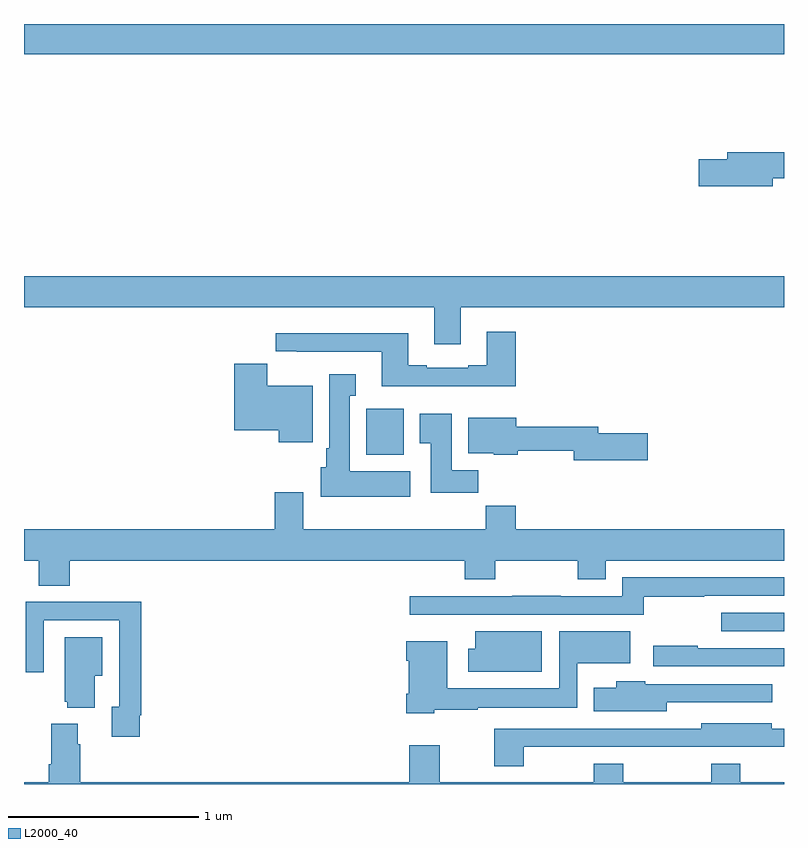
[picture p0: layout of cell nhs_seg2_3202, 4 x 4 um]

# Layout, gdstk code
import gdstk
lib = gdstk.Library(unit=1e-6, precision=1e-09)
def R(c, l, rs):  # rectangles x0, y0, x1, y1
    for r in rs: c.add(gdstk.rectangle(r[:2], r[2:], *l))
def P(c, l, *ps):  # polygons
    for p in ps: c.add(gdstk.Polygon(p, *l))
L2000_40 = (2000, 40)

nhs_seg2_3202 = lib.new_cell('nhs_seg2_3202')
R(nhs_seg2_3202, L2000_40, [(282.669,640.605,283,640.701), (280.802,641.534,280.999,641.776), (279,643.64,283,643.8)])
P(nhs_seg2_3202, L2000_40, [(282.94,642.988),(283,642.988),(283,643.124),(282.701,643.124),(282.701,643.088),(282.552,643.088),(282.552,642.946),(282.94,642.946)],
  [(281.299,642.308),(283,642.308),(283,642.472),(279,642.472),(279,642.308),(281.159,642.308),(281.159,642.114),(281.299,642.114)],
  [(281.588,642.181),(281.435,642.181),(281.435,642.004),(281.339,642.004),(281.339,641.991),(281.119,641.991),(281.119,642.004),(281.023,642.004),(281.023,642.172),(280.326,642.172),(280.326,642.077),(280.435,642.077),(280.435,642.075),(280.883,642.075),(280.883,641.894),(281.588,641.894)],
  [(280.519,641.896),(280.279,641.896),(280.279,642.012),(280.106,642.012),(280.106,641.663),(280.34,641.663),(280.34,641.6),(280.519,641.6)],
  [(281.032,641.446),(280.714,641.446),(280.714,641.843),(280.747,641.843),(280.747,641.956),(280.607,641.956),(280.607,641.566),(280.592,641.566),(280.592,641.466),(280.562,641.466),(280.562,641.312),(281.032,641.312)],
  [(281.39,641.452),(281.251,641.452),(281.251,641.749),(281.084,641.749),(281.084,641.593),(281.141,641.593),(281.141,641.334),(281.39,641.334)],
  [(282.283,641.645),(282.022,641.645),(282.022,641.681),(281.59,641.681),(281.59,641.728),(281.339,641.728),(281.339,641.54),(281.472,641.54),(281.472,641.534),(281.598,641.534),(281.598,641.553),(281.894,641.553),(281.894,641.503),(282.283,641.503)],
  [(279.242,640.976),(281.321,640.976),(281.321,640.877),(281.481,640.877),(281.481,640.976),(281.914,640.976),(281.914,640.877),(282.061,640.877),(282.061,640.976),(283,640.976),(283,641.14),(281.588,641.14),(281.588,641.264),(281.431,641.264),(281.431,641.14),(280.471,641.14),(280.471,641.335),(280.319,641.335),(280.319,641.14),(279,641.14),(279,640.976),(279.077,640.976),(279.077,640.843),(279.242,640.843)],
  [(281.279,640.692),(282.263,640.692),(282.263,640.786),(282.581,640.786),(282.581,640.791),(283,640.791),(283,640.887),(282.149,640.887),(282.149,640.788),(281.825,640.788),(281.825,640.79),(281.569,640.79),(281.569,640.788),(281.031,640.788),(281.031,640.691),(281.279,640.691)],
  [(279.61,640.162),(279.617,640.162),(279.617,640.76),(279.325,640.76),(279.325,640.758),(279.009,640.758),(279.009,640.389),(279.105,640.389),(279.105,640.662),(279.501,640.662),(279.501,640.206),(279.461,640.206),(279.461,640.05),(279.61,640.05)],
  [(281.725,640.603),(281.375,640.603),(281.375,640.513),(281.339,640.513),(281.339,640.391),(281.725,640.391)],
  [(281.159,640.192),(281.387,640.192),(281.387,640.202),(281.913,640.202),(281.913,640.436),(282.19,640.436),(282.19,640.603),(281.817,640.603),(281.817,640.303),(281.227,640.303),(281.227,640.552),(281.012,640.552),(281.012,640.448),(281.024,640.448),(281.024,640.276),(281.012,640.276),(281.012,640.172),(281.159,640.172)],
  [(279.373,640.37),(279.412,640.37),(279.412,640.573),(279.215,640.573),(279.215,640.233),(279.227,640.233),(279.227,640.202),(279.373,640.202)],
  [(283,640.515),(282.547,640.515),(282.547,640.528),(282.311,640.528),(282.311,640.419),(283,640.419)],
  [(282.382,640.23),(282.937,640.23),(282.937,640.326),(282.27,640.326),(282.27,640.341),(282.116,640.341),(282.116,640.306),(281.998,640.306),(281.998,640.184),(282.382,640.184)],
  [(281.631,639.995),(281.909,639.995),(281.909,639.996),(282.241,639.996),(282.241,639.995),(282.564,639.995),(282.564,639.996),(282.936,639.996),(282.936,639.995),(283,639.995),(283,640.092),(282.936,640.092),(282.936,640.12),(282.564,640.12),(282.564,640.092),(281.476,640.092),(281.476,639.894),(281.631,639.894)],
  [(283,639.808),(282.771,639.808),(282.771,639.907),(282.616,639.907),(282.616,639.808),(282.153,639.808),(282.153,639.907),(281.998,639.907),(281.998,639.808),(281.187,639.808),(281.187,640.003),(281.027,640.003),(281.027,639.808),(279.296,639.808),(279.296,640.01),(279.283,640.01),(279.283,640.117),(279.143,640.117),(279.143,639.904),(279.131,639.904),(279.131,639.808),(279,639.808),(279,639.8),(283,639.8)])

lib.write_gds('nhs_seg2_3202.gds')
